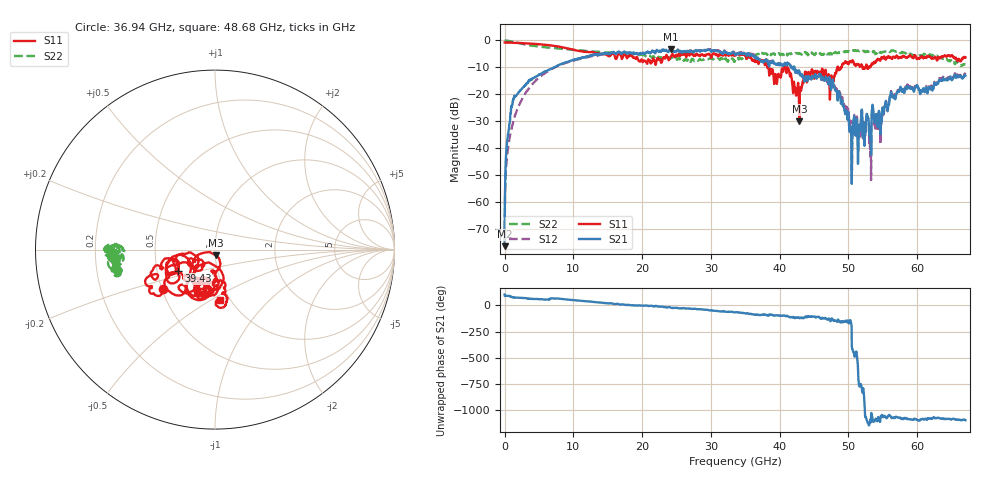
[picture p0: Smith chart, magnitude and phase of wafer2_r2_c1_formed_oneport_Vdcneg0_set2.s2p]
!Keysight Technologies,N5227A,US51270248,A.10.65.08
!Date: Tuesday, June 11, 2024 08:19:49
!Correction: S11(Full 2 Port(1,4))
!S41(Full 2 Port(1,4))
!S14(Full 2 Port(1,4))
!S44(Full 2 Port(1,4))
!S2P File: Measurements: S11, S41, S14, S44:
# Hz S  dB  R 50
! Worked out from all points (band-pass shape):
!   3201 points, 10 MHz to 67 GHz, reference 50 ohm
!   highest |S21| = -3.33 dB at 24.19 GHz (marker M1); lowest = -76.6 dB at 10 MHz (marker M2)
!   |S21| within 3 dB of the highest: 11.37 GHz to 36.38 GHz (25.01 GHz wide, 105 % of centre); 36.44736 GHz to 36.54794 GHz (100.6 MHz wide, 0.276 % of centre)
!   lowest |S11| = -30.0 dB at 42.86 GHz (marker M3), VSWR 1.06, Z = 50.2 - j3.15 ohm
!   |S11| at or under -10 dB: 38.35 GHz to 40.6 GHz (2.251 GHz wide, 5.7 % of centre); 41.15 GHz to 48.42 GHz (7.265 GHz wide, 16.2 % of centre); 52.04 GHz to 52.51 GHz (464.4 MHz wide, 0.888 % of centre)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
!   |S22| runs from -9.5 to 0.0 dB; largest |S21 - S12| = 0.12
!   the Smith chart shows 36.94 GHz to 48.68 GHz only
!   S11 on the Smith chart (normalised r, x): 36.94 GHz: 0.51, -0.26; 39.43 GHz: 0.65, -0.16; 48.68 GHz: 0.90, -0.55
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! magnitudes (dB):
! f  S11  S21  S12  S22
! 10 MHz  -0.8  -76.6  -70.3  0.0
! 491.5 MHz  -0.8  -35.3  -40.3  -0.1
! 1.517 GHz  -0.9  -20.7  -28.0  -0.7
! 4.93 GHz  -1.4  -12.9  -14.0  -2.2
! 11.19 GHz  -4.1  -6.4  -6.7  -3.7
! 22.35 GHz  -7.0  -3.9  -3.9  -6.2
! 24.19 GHz  -5.9  -3.3  -3.3  -6.6
! 33.51 GHz  -5.6  -5.2  -5.1  -7.5
! 36.94 GHz  -8.8  -7.0  -7.2  -5.0
! 39.43 GHz  -12.5  -9.0  -8.9  -5.2
! 40.98 GHz  -11.7  -9.2  -9.2  -4.9
! 42.86 GHz  -30.0  -11.8  -11.7  -4.8
! 44.68 GHz  -10.8  -14.0  -13.6  -4.8
! 47.55 GHz  -13.5  -17.3  -17.0  -5.0
! 48.68 GHz  -10.9  -19.9  -19.3  -4.6
! 50.4 GHz  -7.9  -35.2  -31.8  -3.8
! 53.06 GHz  -10.1  -34.4  -37.3  -4.6
! 53.69 GHz  -8.0  -28.3  -29.5  -3.9
! 54.52 GHz  -7.0  -27.0  -28.2  -4.5
! 55.84 GHz  -6.1  -24.1  -24.0  -3.8
! 57.41 GHz  -6.4  -18.9  -18.8  -4.3
! 67 GHz  -6.3  -13.1  -12.6  -8.8
